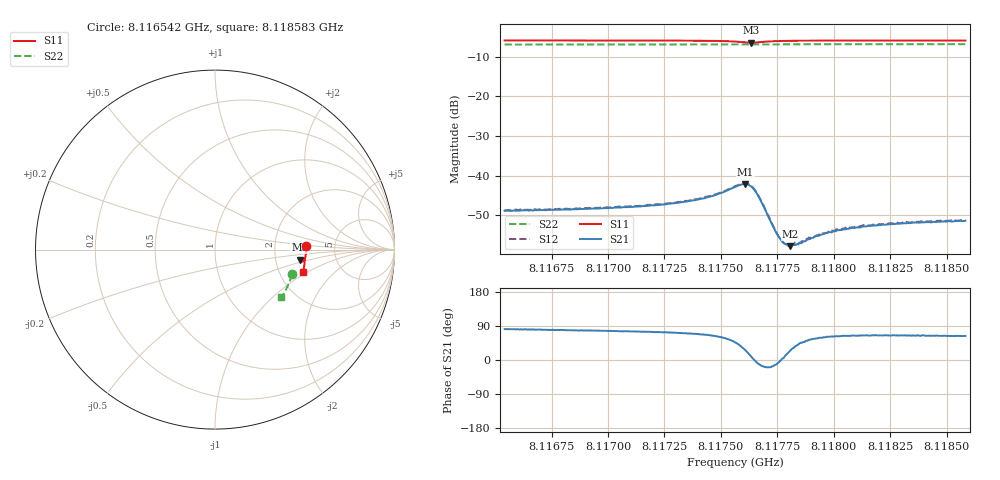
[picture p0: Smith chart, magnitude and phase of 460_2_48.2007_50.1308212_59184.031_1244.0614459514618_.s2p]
#  HZ  S  RI  R  50.00
! Rohde & Schwarz Vector Network Analyzer
! Rohde-Schwarz,ZNB20-2Port,1311601062101988,3.16
! Created: UTC 3/20/2024, 11:56:42 AM
! freq[Hz]  re:S11  im:S11  re:S21  im:S21  re:S12  im:S12  re:S22  im:S22
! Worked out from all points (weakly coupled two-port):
!   401 points, 8.116542 GHz to 8.118583 GHz, reference 50 ohm
!   highest |S21| = -42.10 dB at 8.117609 GHz (marker M1); lowest = -57.8 dB at 8.117808 GHz (marker M2)
!   lowest |S11| = -6.4 dB at 8.117634 GHz (marker M3), VSWR 2.82, Z = 138 - j19.8 ohm
!   |S11| at or under -10 dB: nowhere
!   |S22| runs from -6.9 to -6.8 dB; largest |S21 - S12| = 0.00021
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8.116542e9  0.5071 0.0189  0.000533 0.00356  0.000583 0.00367  0.4288 -0.138
8.1168839e9  0.5069 -0.00745  0.000775 0.00373  0.000855 0.00379  0.4217 -0.1606
8.1170983e9  0.5058 -0.0245  0.00101 0.00391  0.00106 0.00397  0.4166 -0.1747
8.1172258e9  0.5048 -0.0349  0.00122 0.00412  0.00127 0.00415  0.4133 -0.183
8.1173993e9  0.5015 -0.0506  0.00181 0.00465  0.00192 0.00474  0.4085 -0.1944
8.1174708e9  0.4983 -0.0583  0.00252 0.00506  0.00262 0.00516  0.4066 -0.199
8.1175626e9  0.4868 -0.0678  0.00493 0.00527  0.00511 0.00529  0.4035 -0.2049
8.1176086e9  0.4753 -0.0641  0.0071 0.00337  0.00727 0.00346  0.4016 -0.2073
8.1176341e9  0.4728 -0.0557  0.00723 0.00113  0.0074 0.00117  0.4009 -0.2083
8.1176494e9  0.475 -0.0507  0.00655 -9.72e-05  0.00676 -0.000141  0.4006 -0.2091
8.1176647e9  0.479 -0.0475  0.00554 -0.000919  0.00569 -0.000915  0.4003 -0.21
8.1177361e9  0.4944 -0.0517  0.00208 -0.00053  0.00214 -0.000586  0.3989 -0.2145
8.1177617e9  0.4966 -0.0552  0.00161 -9.76e-05  0.00163 -0.000113  0.3983 -0.2162
8.1177872e9  0.498 -0.0589  0.00133 0.000304  0.00134 0.000304  0.3974 -0.218
8.1178076e9  0.4985 -0.0614  0.00118 0.000537  0.00124 0.000539  0.3969 -0.2193
8.1178535e9  0.4993 -0.0667  0.000984 0.001  0.000995 0.00101  0.3954 -0.2223
8.1179045e9  0.4994 -0.0719  0.000939 0.00136  0.00104 0.00139  0.3939 -0.2255
8.1179862e9  0.4989 -0.0795  0.000917 0.00172  0.000962 0.00173  0.3912 -0.2307
8.118027e9  0.4984 -0.0831  0.000952 0.00184  0.000994 0.00183  0.3898 -0.2332
8.1181291e9  0.4972 -0.0916  0.000965 0.00208  0.00103 0.00214  0.3862 -0.2395
8.1182465e9  0.4955 -0.101  0.00104 0.00223  0.00105 0.00227  0.3824 -0.2467
8.1185833e9  0.4895 -0.1263  0.0012 0.00242  0.00127 0.00245  0.3696 -0.2668
